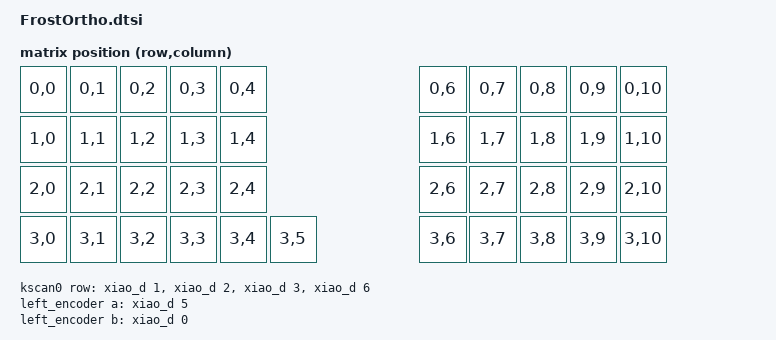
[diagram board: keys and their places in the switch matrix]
#include <dt-bindings/zmk/matrix_transform.h>
#include <physical_layouts.dtsi>

/ {
    chosen {
        zmk,physical-layout = &physical_layout0;
    };

    physical_layout0: physical_layout_0 {
        compatible = "zmk,physical-layout";
        display-name = "default_layout";

        kscan = <&kscan0>;
        transform = <&default_transform>;

        keys  //                     w   h    x    y     rot    rx    ry
            = <&key_physical_attrs 100 100    0    0       0     0     0>
            , <&key_physical_attrs 100 100  100    0       0     0     0>
            , <&key_physical_attrs 100 100  200    0       0     0     0>
            , <&key_physical_attrs 100 100  300    0       0     0     0>
            , <&key_physical_attrs 100 100  400    0       0     0     0>
            , <&key_physical_attrs 100 100  800    0       0     0     0>
            , <&key_physical_attrs 100 100  900    0       0     0     0>
            , <&key_physical_attrs 100 100 1000    0       0     0     0>
            , <&key_physical_attrs 100 100 1100    0       0     0     0>
            , <&key_physical_attrs 100 100 1200    0       0     0     0>
            , <&key_physical_attrs 100 100    0  100       0     0     0>
            , <&key_physical_attrs 100 100  100  100       0     0     0>
            , <&key_physical_attrs 100 100  200  100       0     0     0>
            , <&key_physical_attrs 100 100  300  100       0     0     0>
            , <&key_physical_attrs 100 100  400  100       0     0     0>
            , <&key_physical_attrs 100 100  800  100       0     0     0>
            , <&key_physical_attrs 100 100  900  100       0     0     0>
            , <&key_physical_attrs 100 100 1000  100       0     0     0>
            , <&key_physical_attrs 100 100 1100  100       0     0     0>
            , <&key_physical_attrs 100 100 1200  100       0     0     0>
            , <&key_physical_attrs 100 100    0  200       0     0     0>
            , <&key_physical_attrs 100 100  100  200       0     0     0>
            , <&key_physical_attrs 100 100  200  200       0     0     0>
            , <&key_physical_attrs 100 100  300  200       0     0     0>
            , <&key_physical_attrs 100 100  400  200       0     0     0>
            , <&key_physical_attrs 100 100  800  200       0     0     0>
            , <&key_physical_attrs 100 100  900  200       0     0     0>
            , <&key_physical_attrs 100 100 1000  200       0     0     0>
            , <&key_physical_attrs 100 100 1100  200       0     0     0>
            , <&key_physical_attrs 100 100 1200  200       0     0     0>
            , <&key_physical_attrs 100 100    0  300       0     0     0>
            , <&key_physical_attrs 100 100  100  300       0     0     0>
            , <&key_physical_attrs 100 100  200  300       0     0     0>
            , <&key_physical_attrs 100 100  300  300       0     0     0>
            , <&key_physical_attrs 100 100  400  300       0     0     0>
            , <&key_physical_attrs 100 100  500  300       0     0     0>
            , <&key_physical_attrs 100 100  800  300       0     0     0>
            , <&key_physical_attrs 100 100  900  300       0     0     0>
            , <&key_physical_attrs 100 100 1000  300       0     0     0>
            , <&key_physical_attrs 100 100 1100  300       0     0     0>
            , <&key_physical_attrs 100 100 1200  300       0     0     0>
            ;
    };

    default_transform: keymap_transform_0 {
        compatible = "zmk,matrix-transform";
        columns = <11>;
        rows = <4>;               
        map = <
            RC(0,0) RC(0,1) RC(0,2) RC(0,3) RC(0,4)             RC(0,6) RC(0,7) RC(0,8) RC(0,9) RC(0,10)
            RC(1,0) RC(1,1) RC(1,2) RC(1,3) RC(1,4)             RC(1,6) RC(1,7) RC(1,8) RC(1,9) RC(1,10)
            RC(2,0) RC(2,1) RC(2,2) RC(2,3) RC(2,4)             RC(2,6) RC(2,7) RC(2,8) RC(2,9) RC(2,10)
            RC(3,0) RC(3,1) RC(3,2) RC(3,3) RC(3,4) RC(3,5)     RC(3,6) RC(3,7) RC(3,8) RC(3,9) RC(3,10)         
        >;
    };
    
    kscan0: kscan {
        compatible = "zmk,kscan-gpio-matrix";
        label = "KSCAN";
        diode-direction = "col2row";
            row-gpios
                = <&xiao_d 1 (GPIO_ACTIVE_HIGH | GPIO_PULL_DOWN)> 
                , <&xiao_d 2 (GPIO_ACTIVE_HIGH | GPIO_PULL_DOWN)> 
                , <&xiao_d 3 (GPIO_ACTIVE_HIGH | GPIO_PULL_DOWN)> 
                , <&xiao_d 6 (GPIO_ACTIVE_HIGH | GPIO_PULL_DOWN)> 			
                ;
    };

    left_encoder: encoder_left {
        compatible = "alps,ec11";
        a-gpios = <&xiao_d 5 (GPIO_ACTIVE_HIGH | GPIO_PULL_UP)>;
        b-gpios = <&xiao_d 0 (GPIO_ACTIVE_HIGH | GPIO_PULL_UP)>;
        steps = <24>;
        status = "disabled";
    };

    sensors: sensors {
        compatible = "zmk,keymap-sensors";
        sensors = <&left_encoder>;
        triggers-per-rotation = <10>;
    };

    trackball_listener: trackball_listener {
        compatible = "zmk,input-listener";
        status = "disabled";
    };

    // For split keyboard, you can configure input processor in central
    split_input: split_input {
        compatible = "zmk,input-split"
    };
    split_listener: split_listener {
        compatible = "zmk,input-listener";
        status = <disabled>;
        device = <&split_input>;
    };
    zip_temp_layer: zip_temp_layer {
		compatible = "zmk,input-processor-runtime";
		processor-label = "custom";
		type = <INPUT_EV_REL>;
		x-codes = <INPUT_REL_X>;
		y-codes = <INPUT_REL_Y>;
		scale-multiplier = <1>;
		scale-divisor = <1>;
		rotation-degrees = <0>;
		track-remainders;

		// Optional: Temp-layer layer default settings
		temp-layer-enabled;  // Enable temp-layer by default
		temp-layer = <3>;  // Default to layer 1
		temp-layer-activation-delay-ms = <100>;  // 100ms activation delay
		temp-layer-deactivation-delay-ms = <500>;  // 500ms deactivation delay

		// Optional: Active layers configuration
		// Bitmask of layers where processor should be active (0 = all layers)
		// Each bit represents a layer: bit 0 = layer 0, bit 1 = layer 1, etc.
		// Example: active-layers = <0x00000003> activates on layers 0 and 1 only
		active-layers = <0>;  // Default: active on all layers

		// Optional: Performance optimization
		temp-layer-transparent-behavior = <&trans>;
		temp-layer-kp-behavior = <&kp>;
		temp-layer-keep-keycodes = <LEFT_CONTROL LEFT_SHIFT LEFT_ALT LEFT_GUI RIGHT_CONTROL RIGHT_SHIFT RIGHT_ALT RIGHT_GUI>;

		#input-processor-cells = <0>;
	};
};

&spi0 {
    status = "disabled";
    trackball: trackball@0 {
        status = "disabled";
        reg = <0>;
    };
};
